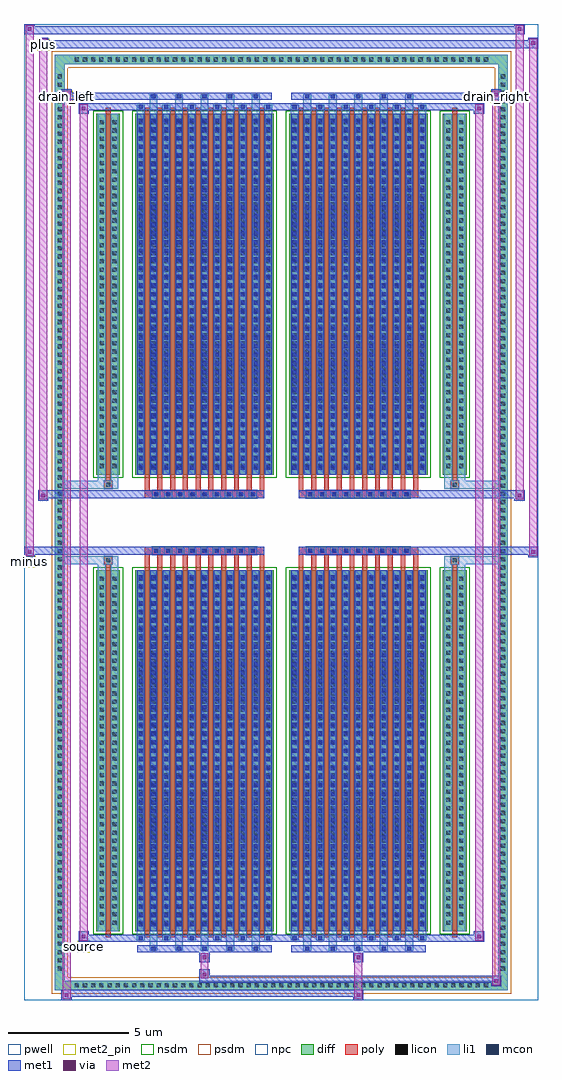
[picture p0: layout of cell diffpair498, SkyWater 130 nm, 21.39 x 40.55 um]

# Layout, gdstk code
import gdstk
lib = gdstk.Library(unit=1e-6, precision=5e-09)
def R(c, l, rs):  # rectangles x0, y0, x1, y1
    for r in rs: c.add(gdstk.rectangle(r[:2], r[2:], *l))
def A(c, l, x, y, w, h, nx, ny, dx, dy):  # array of equal rectangles
    R(c, l, [(x+i*dx, y+j*dy, x+i*dx+w, y+j*dy+h) for i in range(nx) for j in range(ny)])
def P(c, l, *ps):  # polygons
    for p in ps: c.add(gdstk.Polygon(p, *l))
pwell = (64, 44)
diff = (65, 20)
poly = (66, 20)
licon = (66, 44)
li1 = (67, 20)
mcon = (67, 44)
met1 = (68, 20)
via = (68, 44)
met2_pin = (69, 16)
met2 = (69, 20)
nsdm = (93, 44)
psdm = (94, 20)
npc = (95, 20)

diffpair498 = lib.new_cell('diffpair498')
R(diffpair498, pwell, [(-10.68,-19.84,10.68,20.71), (-8,-18.03,-0.01,-0.805), (0.01,-18.03,8,-0.805), (-8,0.805,-0.01,18.03), (0.01,0.805,8,18.03)])
A(diffpair498, diff, -8.705, -19.44, 0.41, 0.41, 51, 2, 0.34, 38.47)
A(diffpair498, diff, -9.41, -18.735, 0.41, 0.41, 1, 110, 0, 0.34)
A(diffpair498, diff, 9, -18.735, 0.41, 0.41, 1, 110, 0, 0.34)
R(diffpair498, diff, [(-8.705,-19.44,8.705,-19.03), (-9.41,-18.735,-9,18.735), (9,-18.735,9.41,18.735), (-7.69,-16.985,-6.71,-1.985), (-6.07,-16.985,-0.32,-1.985), (0.32,-16.985,6.07,-1.985), (6.71,-16.985,7.69,-1.985), (-7.69,1.985,-6.71,16.985), (-6.07,1.985,-0.32,16.985), (0.32,1.985,6.07,16.985), (6.71,1.985,7.69,16.985), (-8.705,19.03,8.705,19.44)])
P(diffpair498, diff, [(9.41,19.44),(-9.41,19.44),(-9.41,-19.03),(-9,-19.03),(-9,19.03),(9,19.03),(9,-19.03),(-9,-19.03),(-9.41,-19.03),(-9.41,-19.44),(9.41,-19.44)])
A(diffpair498, poly, -5.68, -17.235, 0.2, 15.5, 10, 2, 0.53, 18.97)
A(diffpair498, poly, 0.71, -17.235, 0.2, 15.5, 10, 2, 0.53, 18.97)
A(diffpair498, poly, -5.68, -1.735, 0.2, 0.4, 10, 2, 0.53, 3.07)
A(diffpair498, poly, 0.71, -1.735, 0.2, 0.4, 10, 2, 0.53, 3.07)
A(diffpair498, poly, -5.36, -1.335, 0.33, 0.33, 9, 2, 0.5, 2.34)
A(diffpair498, poly, 1.03, -1.335, 0.33, 0.33, 9, 2, 0.5, 2.34)
R(diffpair498, poly, [(-7.3,-17.235,-7.1,-1.735), (7.1,-17.235,7.3,-1.735), (-7.365,-1.735,-7.035,-1.405), (-7.365,-1.735,-7.035,-1.405), (7.035,-1.735,7.365,-1.405), (7.035,-1.735,7.365,-1.405), (-5.68,-1.335,-0.71,-1.005), (0.71,-1.335,5.68,-1.005), (-5.68,1.005,-0.71,1.335), (0.71,1.005,5.68,1.335), (-7.365,1.405,-7.035,1.735), (-7.365,1.405,-7.035,1.735), (7.035,1.405,7.365,1.735), (7.035,1.405,7.365,1.735), (-7.3,1.735,-7.1,17.235), (7.1,1.735,7.3,17.235)])
A(diffpair498, licon, -8.585, -19.32, 0.17, 0.17, 51, 2, 0.34, 38.47)
A(diffpair498, licon, -9.29, -18.615, 0.17, 0.17, 1, 110, 0, 0.34)
A(diffpair498, licon, 9.12, -18.615, 0.17, 0.17, 1, 110, 0, 0.34)
A(diffpair498, licon, -7.55, -16.71, 0.17, 0.17, 1, 43, 0, 0.34)
A(diffpair498, licon, -7.02, -16.71, 0.17, 0.17, 1, 43, 0, 0.34)
A(diffpair498, licon, -5.93, -16.71, 0.17, 0.17, 11, 43, 0.53, 0.34)
A(diffpair498, licon, 0.46, -16.71, 0.17, 0.17, 11, 43, 0.53, 0.34)
A(diffpair498, licon, 6.85, -16.71, 0.17, 0.17, 1, 43, 0, 0.34)
A(diffpair498, licon, 7.38, -16.71, 0.17, 0.17, 1, 43, 0, 0.34)
A(diffpair498, licon, -5.28, -1.255, 0.17, 0.17, 9, 2, 0.5, 2.34)
A(diffpair498, licon, 1.11, -1.255, 0.17, 0.17, 9, 2, 0.5, 2.34)
A(diffpair498, licon, -7.55, 2.26, 0.17, 0.17, 1, 43, 0, 0.34)
A(diffpair498, licon, -7.02, 2.26, 0.17, 0.17, 1, 43, 0, 0.34)
A(diffpair498, licon, -5.93, 2.26, 0.17, 0.17, 11, 43, 0.53, 0.34)
A(diffpair498, licon, 0.46, 2.26, 0.17, 0.17, 11, 43, 0.53, 0.34)
A(diffpair498, licon, 6.85, 2.26, 0.17, 0.17, 1, 43, 0, 0.34)
A(diffpair498, licon, 7.38, 2.26, 0.17, 0.17, 1, 43, 0, 0.34)
R(diffpair498, licon, [(-7.285,-1.655,-7.115,-1.485), (7.115,-1.655,7.285,-1.485), (-7.285,1.485,-7.115,1.655), (7.115,1.485,7.285,1.655)])
A(diffpair498, li1, -8.665, -19.4, 0.33, 0.33, 51, 2, 0.34, 38.47)
A(diffpair498, li1, -9.37, -18.695, 0.33, 0.33, 1, 110, 0, 0.34)
A(diffpair498, li1, 9.04, -18.695, 0.33, 0.33, 1, 110, 0, 0.34)
A(diffpair498, li1, -5.48, -17.79, 0.33, 0.805, 5, 2, 1.06, 34.775)
A(diffpair498, li1, -5.4, -17.79, 0.17, 0.17, 5, 2, 1.06, 35.41)
A(diffpair498, li1, 0.91, -17.79, 0.33, 0.805, 5, 2, 1.06, 34.775)
A(diffpair498, li1, 0.99, -17.79, 0.17, 0.17, 5, 2, 1.06, 35.41)
A(diffpair498, li1, -6.01, -17.36, 0.33, 0.375, 6, 2, 1.06, 34.345)
A(diffpair498, li1, -5.93, -17.36, 0.17, 0.17, 6, 2, 1.06, 34.55)
A(diffpair498, li1, 0.38, -17.36, 0.33, 0.375, 6, 2, 1.06, 34.345)
A(diffpair498, li1, 0.46, -17.36, 0.17, 0.17, 6, 2, 1.06, 34.55)
A(diffpair498, li1, -6.01, -16.985, 0.33, 15, 11, 2, 0.53, 18.97)
A(diffpair498, li1, 0.38, -16.985, 0.33, 15, 11, 2, 0.53, 18.97)
A(diffpair498, li1, -7.63, -16.79, 0.33, 0.33, 1, 43, 0, 0.34)
A(diffpair498, li1, -7.1, -16.79, 0.33, 0.33, 1, 43, 0, 0.34)
A(diffpair498, li1, -6.01, -16.79, 0.33, 0.33, 11, 43, 0.53, 0.34)
A(diffpair498, li1, 0.38, -16.79, 0.33, 0.33, 11, 43, 0.53, 0.34)
A(diffpair498, li1, 6.77, -16.79, 0.33, 0.33, 1, 43, 0, 0.34)
A(diffpair498, li1, 7.3, -16.79, 0.33, 0.33, 1, 43, 0, 0.34)
A(diffpair498, li1, -5.93, -16.77, 0.17, 0.17, 11, 41, 0.53, 0.36)
A(diffpair498, li1, -5.93, -16.77, 0.17, 14.57, 11, 2, 0.53, 18.97)
A(diffpair498, li1, 0.46, -16.77, 0.17, 0.17, 11, 41, 0.53, 0.36)
A(diffpair498, li1, 0.46, -16.77, 0.17, 14.57, 11, 2, 0.53, 18.97)
A(diffpair498, li1, -5.36, -1.335, 0.33, 0.33, 9, 2, 0.5, 2.34)
A(diffpair498, li1, 1.03, -1.335, 0.33, 0.33, 9, 2, 0.5, 2.34)
A(diffpair498, li1, -7.63, 2.18, 0.33, 0.33, 1, 43, 0, 0.34)
A(diffpair498, li1, -7.1, 2.18, 0.33, 0.33, 1, 43, 0, 0.34)
A(diffpair498, li1, -6.01, 2.18, 0.33, 0.33, 11, 43, 0.53, 0.34)
A(diffpair498, li1, 0.38, 2.18, 0.33, 0.33, 11, 43, 0.53, 0.34)
A(diffpair498, li1, 6.77, 2.18, 0.33, 0.33, 1, 43, 0, 0.34)
A(diffpair498, li1, 7.3, 2.18, 0.33, 0.33, 1, 43, 0, 0.34)
A(diffpair498, li1, -5.93, 2.2, 0.17, 0.17, 11, 41, 0.53, 0.36)
A(diffpair498, li1, 0.46, 2.2, 0.17, 0.17, 11, 41, 0.53, 0.36)
R(diffpair498, li1, [(-9.41,-19.44,-9,-19.03), (-9.41,-19.44,-9,-19.03), (-9,-19.44,9,-19.03), (9,-19.44,9.41,-19.03), (9,-19.44,9.41,-19.03), (-9.41,-19.03,-9,19.03), (9,-19.03,9.41,19.03), (-7.63,-16.985,-7.3,-1.985), (-7.1,-16.985,-6.77,-1.985), (6.77,-16.985,7.1,-1.985), (7.3,-16.985,7.63,-1.985), (-7.63,-1.985,-7.3,-1.405), (-7.1,-1.985,-6.77,-1.405), (6.77,-1.985,7.1,-1.405), (7.3,-1.985,7.63,-1.405), (-9.41,-1.735,-7.365,-1.405), (-7.63,-1.735,-7.365,-1.405), (-7.365,-1.735,-7.035,-1.405), (-7.035,-1.735,-6.77,-1.405), (6.77,-1.735,7.035,-1.405), (7.035,-1.735,7.365,-1.405), (7.035,-1.735,9.41,-1.405), (7.365,-1.735,7.63,-1.405), (-9.41,1.405,-7.365,1.735), (-7.63,1.405,-7.365,1.735), (-7.63,1.405,-7.3,1.985), (-7.365,1.405,-7.035,1.735), (-7.1,1.405,-6.77,1.985), (-7.035,1.405,-6.77,1.735), (6.77,1.405,7.035,1.735), (6.77,1.405,7.1,1.985), (7.035,1.405,7.365,1.735), (7.035,1.405,9.41,1.735), (7.3,1.405,7.63,1.985), (7.365,1.405,7.63,1.735), (-7.63,1.985,-7.3,16.985), (-7.1,1.985,-6.77,16.985), (6.77,1.985,7.1,16.985), (7.3,1.985,7.63,16.985), (-9.41,19.03,-9,19.44), (-9.41,19.03,-9,19.44), (-9,19.03,9,19.44), (9,19.03,9.41,19.44), (9,19.03,9.41,19.44)])
A(diffpair498, mcon, -5.4, -17.79, 0.17, 0.17, 5, 2, 1.06, 35.41)
A(diffpair498, mcon, 0.99, -17.79, 0.17, 0.17, 5, 2, 1.06, 35.41)
A(diffpair498, mcon, -5.93, -17.36, 0.17, 0.17, 6, 2, 1.06, 34.55)
A(diffpair498, mcon, 0.46, -17.36, 0.17, 0.17, 6, 2, 1.06, 34.55)
A(diffpair498, mcon, -5.93, -16.77, 0.17, 0.17, 11, 41, 0.53, 0.36)
A(diffpair498, mcon, 0.46, -16.77, 0.17, 0.17, 11, 41, 0.53, 0.36)
A(diffpair498, mcon, -5.28, -1.255, 0.17, 0.17, 9, 2, 0.5, 2.34)
A(diffpair498, mcon, 1.11, -1.255, 0.17, 0.17, 9, 2, 0.5, 2.34)
A(diffpair498, mcon, -5.93, 2.2, 0.17, 0.17, 11, 41, 0.53, 0.36)
A(diffpair498, mcon, 0.46, 2.2, 0.17, 0.17, 11, 41, 0.53, 0.36)
A(diffpair498, met1, -5.46, -17.85, 0.29, 0.29, 5, 2, 1.06, 35.41)
A(diffpair498, met1, 0.93, -17.85, 0.29, 0.29, 5, 2, 1.06, 35.41)
A(diffpair498, met1, -5.99, -17.42, 0.29, 0.29, 6, 2, 1.06, 34.55)
A(diffpair498, met1, 0.4, -17.42, 0.29, 0.29, 6, 2, 1.06, 34.55)
A(diffpair498, met1, -5.99, -16.985, 0.29, 15, 11, 2, 0.53, 18.97)
A(diffpair498, met1, 0.4, -16.985, 0.29, 15, 11, 2, 0.53, 18.97)
A(diffpair498, met1, -5.99, -16.83, 0.29, 0.29, 11, 41, 0.53, 0.36)
A(diffpair498, met1, 0.4, -16.83, 0.29, 0.29, 11, 41, 0.53, 0.36)
A(diffpair498, met1, -5.34, -1.315, 0.29, 0.29, 9, 2, 0.5, 2.34)
A(diffpair498, met1, 1.05, -1.315, 0.29, 0.29, 9, 2, 0.5, 2.34)
A(diffpair498, met1, -5.99, 2.14, 0.29, 0.29, 11, 41, 0.53, 0.36)
A(diffpair498, met1, 0.4, 2.14, 0.29, 0.29, 11, 41, 0.53, 0.36)
R(diffpair498, met1, [(-9.14,-19.84,-8.71,-19.41), (2.98,-19.84,3.41,-19.41), (-9.14,-19.7,3.41,-19.41), (8.71,-19.27,9.14,-18.84), (-3.41,-19.13,9.14,-18.84), (-3.41,-18.99,-2.98,-18.56), (-3.41,-18.28,-2.98,-17.85), (2.98,-18.28,3.41,-17.85), (-5.99,-17.85,-0.4,-17.56), (0.4,-17.85,5.99,-17.56), (-8.43,-17.42,-8,-16.99), (-8.43,-17.42,-5.99,-17.13), (-5.99,-17.42,-0.4,-17.13), (-0.4,-17.42,0.4,-17.13), (0.4,-17.42,5.99,-17.13), (5.99,-17.42,8.43,-17.13), (8,-17.42,8.43,-16.99), (-10.68,-1.435,-10.25,-1.005), (10.25,-1.435,10.68,-1.005), (-10.68,-1.335,-0.71,-1.005), (-5.68,-1.335,-0.71,-1.005), (0.71,-1.335,5.68,-1.005), (0.71,-1.335,10.68,-1.005), (-10.11,0.905,-9.68,1.335), (9.68,0.905,10.11,1.335), (-10.11,1.005,-5.68,1.335), (-5.68,1.005,-0.71,1.335), (0.71,1.005,5.68,1.335), (5.68,1.005,10.11,1.335), (-8.43,16.99,-8,17.42), (8,16.99,8.43,17.42), (-8.43,17.13,-5.99,17.42), (-5.99,17.13,-0.4,17.42), (-0.4,17.13,0.4,17.42), (0.4,17.13,5.99,17.42), (5.99,17.13,8.43,17.42), (-9.14,17.56,-8.71,17.99), (-9.14,17.56,-5.99,17.85), (-5.99,17.56,-0.4,17.85), (0.4,17.56,5.99,17.85), (5.99,17.56,9.14,17.85), (8.71,17.56,9.14,17.99), (-10.11,19.71,-9.68,20.14), (-10.11,19.71,-8,20.04), (-8,19.71,8,20.04), (8,19.71,10.68,20.04), (10.25,19.71,10.68,20.14), (-10.68,20.28,-10.25,20.71), (-10.68,20.28,-8,20.61), (-8,20.28,8,20.61), (8,20.28,10.11,20.61), (9.68,20.28,10.11,20.71)])
R(diffpair498, via, [(-9,-19.7,-8.85,-19.55), (3.12,-19.7,3.27,-19.55), (8.85,-19.13,9,-18.98), (-3.27,-18.85,-3.12,-18.7), (-3.27,-18.14,-3.12,-17.99), (3.12,-18.14,3.27,-17.99), (-8.29,-17.28,-8.14,-17.13), (8.14,-17.28,8.29,-17.13), (-10.54,-1.295,-10.39,-1.145), (10.39,-1.295,10.54,-1.145), (-9.97,1.045,-9.82,1.195), (9.82,1.045,9.97,1.195), (-8.29,17.13,-8.14,17.28), (8.14,17.13,8.29,17.28), (-9,17.7,-8.85,17.85), (8.85,17.7,9,17.85), (-9.97,19.85,-9.82,20), (10.39,19.85,10.54,20), (-10.54,20.42,-10.39,20.57), (9.82,20.42,9.97,20.57)])
R(diffpair498, met2_pin, [(-8.465,-17.87,-7.965,-17.37), (-10.715,-1.885,-10.215,-1.385), (-9.175,17.44,-8.675,17.94), (8.675,17.44,9.175,17.94), (-10.145,19.59,-9.645,20.09)])
R(diffpair498, met2, [(-9.09,-19.79,-8.76,-19.46), (-9.09,-19.79,-8.76,17.94), (3.03,-19.79,3.36,-19.46), (3.03,-19.46,3.36,-18.23), (8.76,-19.22,9.09,-18.89), (8.76,-19.22,9.09,17.94), (-3.36,-18.94,-3.03,-18.61), (-3.36,-18.61,-3.03,-18.23), (-3.36,-18.23,-3.03,-17.9), (3.03,-18.23,3.36,-17.9), (-8.38,-17.37,-8.05,-17.04), (-8.38,-17.37,-8.05,17.37), (8.05,-17.37,8.38,-17.04), (8.05,-17.37,8.38,17.37), (-10.63,-1.385,-10.3,-1.055), (-10.63,-1.385,-10.3,20.66), (10.3,-1.385,10.63,-1.055), (10.3,-1.385,10.63,20.09), (-10.06,0.955,-9.73,1.285), (-10.06,0.955,-9.73,20.09), (9.73,0.955,10.06,1.285), (9.73,0.955,10.06,20.66), (-8.38,17.04,-8.05,17.37), (8.05,17.04,8.38,17.37), (-9.09,17.61,-8.76,17.94), (8.76,17.61,9.09,17.94), (-10.06,19.76,-9.73,20.09), (10.3,19.76,10.63,20.09), (-10.63,20.33,-10.3,20.66), (9.73,20.33,10.06,20.66)])
P(diffpair498, met2, [(10.63,-1.385),(10.63,-1.385),(10.63,-1.055),(10.63,-1.055)],
  [(10.63,19.76),(10.63,19.76),(10.63,20.09),(10.63,20.09)],
  [(-10.3,-1.385),(-10.3,-1.385),(-10.3,-1.055),(-10.3,-1.055)],
  [(-10.3,20.33),(-10.3,20.33),(-10.3,20.66),(-10.3,20.66)],
  [(10.06,0.955),(10.06,0.955),(10.06,1.285),(10.06,1.285)],
  [(10.06,20.33),(10.06,20.33),(10.06,20.66),(10.06,20.66)],
  [(-9.73,0.955),(-9.73,0.955),(-9.73,1.285),(-9.73,1.285)],
  [(-9.73,19.76),(-9.73,19.76),(-9.73,20.09),(-9.73,20.09)],
  [(-8.76,-19.79),(-8.76,-19.79),(-8.76,-19.46),(-8.76,-19.46)],
  [(-8.76,17.61),(-8.76,17.61),(-8.76,17.94),(-8.76,17.94)],
  [(9.09,-19.22),(9.09,-19.22),(9.09,-18.89),(9.09,-18.89)],
  [(9.09,17.61),(9.09,17.61),(9.09,17.94),(9.09,17.94)],
  [(-8.05,-17.37),(-8.05,-17.37),(-8.05,-17.04),(-8.05,-17.04)],
  [(-8.05,17.04),(-8.05,17.04),(-8.05,17.37),(-8.05,17.37)],
  [(8.38,-17.37),(8.38,-17.37),(8.38,-17.04),(8.38,-17.04)],
  [(8.38,17.04),(8.38,17.04),(8.38,17.37),(8.38,17.37)])
R(diffpair498, nsdm, [(-7.82,-17.115,-6.58,-1.855), (-6.2,-17.115,-0.19,-1.855), (0.19,-17.115,6.2,-1.855), (6.58,-17.115,7.82,-1.855), (-7.82,1.855,-6.58,17.115), (-6.2,1.855,-0.19,17.115), (0.19,1.855,6.2,17.115), (6.58,1.855,7.82,17.115)])
P(diffpair498, psdm, [(9.54,19.57),(-9.54,19.57),(-9.54,-18.9),(-8.87,-18.9),(-8.87,18.9),(8.87,18.9),(8.87,-18.9),(-8.87,-18.9),(-9.54,-18.9),(-9.54,-19.57),(9.54,-19.57)])
A(diffpair498, npc, -5.38, -1.355, 0.37, 0.37, 9, 2, 0.5, 2.34)
A(diffpair498, npc, 1.01, -1.355, 0.37, 0.37, 9, 2, 0.5, 2.34)
R(diffpair498, npc, [(-7.385,-1.755,-7.015,-1.385), (7.015,-1.755,7.385,-1.385), (-5.38,-1.355,-4.51,-0.985), (-5.38,-1.355,-4.51,-0.985), (-4.88,-1.355,-4.01,-0.985), (-4.88,-1.355,-4.01,-0.985), (-4.38,-1.355,-3.51,-0.985), (-4.38,-1.355,-3.51,-0.985), (-3.88,-1.355,-3.01,-0.985), (-3.88,-1.355,-3.01,-0.985), (-3.38,-1.355,-2.51,-0.985), (-3.38,-1.355,-2.51,-0.985), (-2.88,-1.355,-2.01,-0.985), (-2.88,-1.355,-2.01,-0.985), (-2.38,-1.355,-1.51,-0.985), (-2.38,-1.355,-1.51,-0.985), (-1.88,-1.355,-1.01,-0.985), (-1.88,-1.355,-1.01,-0.985), (1.01,-1.355,1.88,-0.985), (1.01,-1.355,1.88,-0.985), (1.51,-1.355,2.38,-0.985), (1.51,-1.355,2.38,-0.985), (2.01,-1.355,2.88,-0.985), (2.01,-1.355,2.88,-0.985), (2.51,-1.355,3.38,-0.985), (2.51,-1.355,3.38,-0.985), (3.01,-1.355,3.88,-0.985), (3.01,-1.355,3.88,-0.985), (3.51,-1.355,4.38,-0.985), (3.51,-1.355,4.38,-0.985), (4.01,-1.355,4.88,-0.985), (4.01,-1.355,4.88,-0.985), (4.51,-1.355,5.38,-0.985), (4.51,-1.355,5.38,-0.985), (-5.38,0.985,-4.51,1.355), (-5.38,0.985,-4.51,1.355), (-4.88,0.985,-4.01,1.355), (-4.88,0.985,-4.01,1.355), (-4.38,0.985,-3.51,1.355), (-4.38,0.985,-3.51,1.355), (-3.88,0.985,-3.01,1.355), (-3.88,0.985,-3.01,1.355), (-3.38,0.985,-2.51,1.355), (-3.38,0.985,-2.51,1.355), (-2.88,0.985,-2.01,1.355), (-2.88,0.985,-2.01,1.355), (-2.38,0.985,-1.51,1.355), (-2.38,0.985,-1.51,1.355), (-1.88,0.985,-1.01,1.355), (-1.88,0.985,-1.01,1.355), (1.01,0.985,1.88,1.355), (1.01,0.985,1.88,1.355), (1.51,0.985,2.38,1.355), (1.51,0.985,2.38,1.355), (2.01,0.985,2.88,1.355), (2.01,0.985,2.88,1.355), (2.51,0.985,3.38,1.355), (2.51,0.985,3.38,1.355), (3.01,0.985,3.88,1.355), (3.01,0.985,3.88,1.355), (3.51,0.985,4.38,1.355), (3.51,0.985,4.38,1.355), (4.01,0.985,4.88,1.355), (4.01,0.985,4.88,1.355), (4.51,0.985,5.38,1.355), (4.51,0.985,5.38,1.355), (-7.385,1.385,-7.015,1.755), (7.015,1.385,7.385,1.755)])
diffpair498.add(gdstk.Label('minus', (-10.465,-1.635), layer=69, texttype=5))
diffpair498.add(gdstk.Label('drain_right', (8.925,17.69), layer=69, texttype=5))
diffpair498.add(gdstk.Label('drain_left', (-8.925,17.69), layer=69, texttype=5))
diffpair498.add(gdstk.Label('source', (-8.215,-17.62), layer=69, texttype=5))
diffpair498.add(gdstk.Label('plus', (-9.895,19.84), layer=69, texttype=5))

lib.write_gds('diffpair498.gds')
